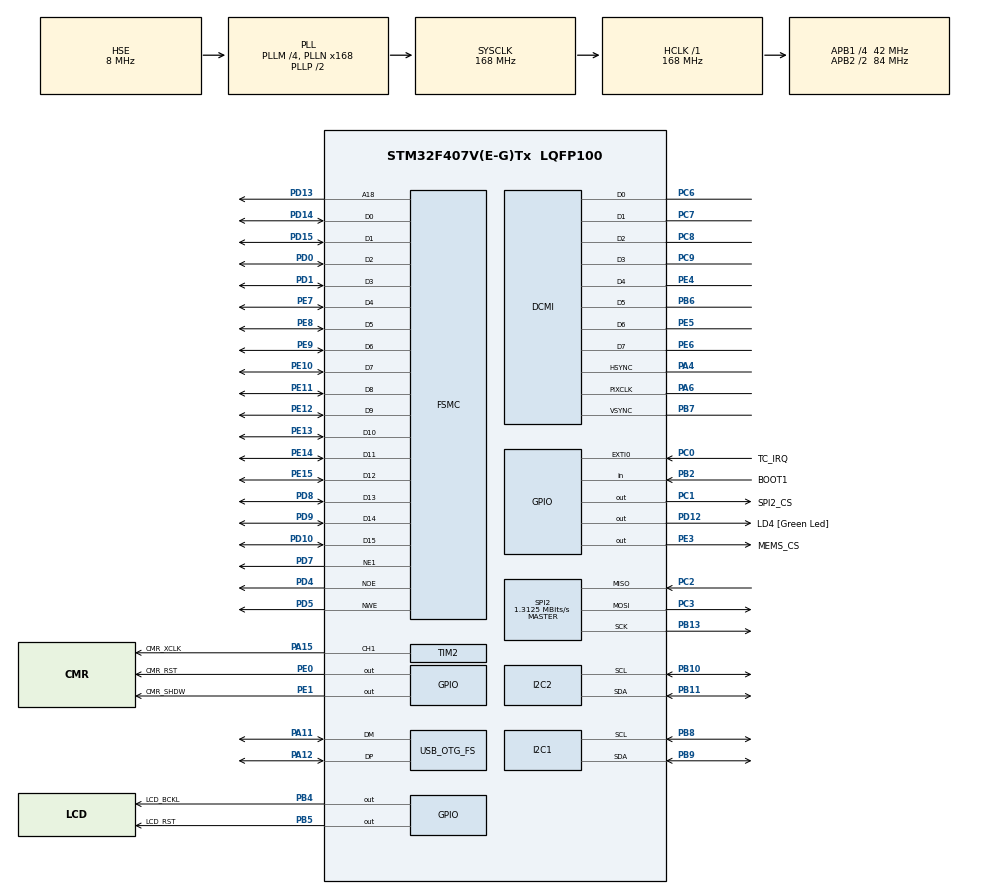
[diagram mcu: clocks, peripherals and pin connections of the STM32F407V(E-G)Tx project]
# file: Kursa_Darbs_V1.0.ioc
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Mcu.Family=STM32F4
PC3.Mode=Full_Duplex_Master
PD7.Mode=NorPsramChipSelect1_1
FREERTOS.Queues01=Coordinates,9,uint8_t,0,Dynamic,NULL,NULL
PD12.GPIO_Label=LD4 [Green Led]
PA6.Mode=Slave_8_bits_External_Synchro
USB_DEVICE.CLASS_NAME_FS=CDC
PH0-OSC_IN.Signal=RCC_OSC_IN
VP_SYS_VS_tim6.Mode=TIM6
RCC.CortexFreq_Value=168000000
DCMI.HSPolarity=DCMI_HSPOLARITY_LOW
SPI2.VirtualType=VM_MASTER
PB10.Mode=I2C
NVIC.TIM6_DAC_IRQn=true\:0\:0\:false\:false\:true\:false\:false\:true
PA14.GPIO_Label=SWCLK
PC0.GPIO_Label=TC_IRQ
PA11.Mode=Device_Only
USB_DEVICE.VirtualMode-CDC_FS=Cdc
PB11.Signal=I2C2_SDA
PB13.Signal=SPI2_SCK
PD9.Mode=16b-d1
PC15-OSC32_OUT.GPIO_Label=PC15-OSC32_OUT
RCC.SYSCLKSource=RCC_SYSCLKSOURCE_PLLCLK
ProjectManager.StackSize=0x400
Dma.DCMI.0.FIFOMode=DMA_FIFOMODE_DISABLE
VP_FREERTOS_VS_CMSIS_V2.Mode=CMSIS_V2
Dma.DCMI.0.MemDataAlignment=DMA_MDATAALIGN_WORD
PD13.Signal=FSMC_A18
PA15.GPIO_Label=CMR_XCLK
Dma.DCMI.0.MemInc=DMA_MINC_ENABLE
PA12.Signal=USB_OTG_FS_DP
PE11.Mode=16b-d1
PA4.Mode=Slave_8_bits_External_Synchro
Dma.DCMI.0.PeriphDataAlignment=DMA_PDATAALIGN_WORD
RCC.HCLKFreq_Value=168000000
PD4.Signal=FSMC_NOE
RCC.APB2TimFreq_Value=168000000
PB6.Signal=DCMI_D5
DCMI.VSPolarity=DCMI_VSPOLARITY_HIGH
PC7.Signal=DCMI_D1
PB6.Mode=Slave_8_bits_External_Synchro
PC3.Signal=SPI2_MOSI
PD10.Mode=16b-d1
PD0.Signal=FSMC_D2
PD8.Signal=FSMC_D13
PE5.Signal=DCMI_D6
PE1.Signal=GPIO_Output
RCC.AHBFreq_Value=168000000
SPI2.BaudRatePrescaler=SPI_BAUDRATEPRESCALER_32
PH0-OSC_IN.Mode=HSE-External-Oscillator
PH0-OSC_IN.GPIO_Label=PH0-OSC_IN
PD5.Mode=Lcd1
FREERTOS.configUSE_PREEMPTION=1
RCC.HSE_VALUE=8000000
PB2.Signal=GPIO_Input
PB3.Mode=Trace_Asynchronous_SW
DCMI.PCKPolarity=DCMI_PCKPOLARITY_RISING
PA6.GPIO_PuPd=GPIO_PULLUP
PE13.Signal=FSMC_D10
PC14-OSC32_IN.Mode=LSE-External-Oscillator
PE9.Signal=FSMC_D6
PA14.Mode=Trace_Asynchronous_SW
PD14.Mode=16b-d1
PC9.Mode=Slave_8_bits_External_Synchro
SPI2.CalculateBaudRate=1.3125 MBits/s
PB7.Signal=DCMI_VSYNC
PE13.Mode=16b-d1
TIM2.Channel-PWM\ Generation1\ CH1=TIM_CHANNEL_1
PE4.Mode=Slave_8_bits_External_Synchro
PE4.Signal=DCMI_D4
PE10.Signal=FSMC_D7
PB2.GPIO_PuPd=GPIO_NOPULL
PH1-OSC_OUT.Mode=HSE-External-Oscillator
PD15.Mode=16b-d1
Mcu.Package=LQFP100
PB9.Signal=I2C1_SDA
TIM2.Prescaler=0
PA6.Signal=DCMI_PIXCLK
NVIC.TimeBase=TIM6_DAC_IRQn
SPI2.Mode=SPI_MODE_MASTER
Dma.DCMI.0.Direction=DMA_PERIPH_TO_MEMORY
PD12.Signal=GPIO_Output
NVIC.OTG_FS_IRQn=true\:5\:0\:false\:false\:true\:true\:true\:true
NVIC.TimeBaseIP=TIM6
USB_OTG_FS.VirtualMode=Device_Only
PA15.Signal=S_TIM2_CH1_ETR
PE9.Mode=16b-d1
PE0.GPIO_Label=CMR_RST
RCC.APB2CLKDivider=RCC_HCLK_DIV2
PB5.GPIO_Label=LCD_RST
PD4.Mode=Lcd1
RCC.APB1TimFreq_Value=84000000
PC14-OSC32_IN.GPIO_Label=PC14-OSC32_IN
SPI2.Direction=SPI_DIRECTION_2LINES
PB13.Mode=Full_Duplex_Master
PA6.GPIO_Speed=GPIO_SPEED_FREQ_LOW
PE7.Signal=FSMC_D4
Dma.Request0=DCMI
PD15.Signal=FSMC_D1
PB4.Signal=GPIO_Output
PE12.Mode=16b-d1
PC15-OSC32_OUT.Mode=LSE-External-Oscillator
PD12.GPIO_Speed=GPIO_SPEED_FREQ_LOW
FREERTOS.Tasks01=defaultTask,24,3000,StartDefaultTask,Default,NULL,Dynamic,NULL,NULL;getPicFromCam,24,128,StartGetPictureFromCamera,Default,NULL,Dynamic,NULL,NULL;sendPicToPy,24,128,StartSendPictureToPy,Default,NULL,Dynamic,NULL,NULL;getCoordFromPy,24,128,StartGetCoordFromPy,Default,NULL,Dynamic,NULL,NULL;showPicture,24,128,StartShowPicture,Default,NULL,Dynamic,NULL,NULL
USB_DEVICE.VirtualModeFS=Cdc_FS
PC8.Signal=DCMI_D2
PC2.Signal=SPI2_MISO
PE10.Mode=16b-d1
PC6.Signal=DCMI_D0
PD7.Signal=FSMC_NE1
PD1.Signal=FSMC_D3
PC2.Mode=Full_Duplex_Master
PD9.Signal=FSMC_D14
PD5.Signal=FSMC_NWE
NVIC.DMA2_Stream1_IRQn=true\:5\:0\:false\:false\:true\:true\:false\:true
PC0.Signal=GPXTI0
RCC.APB1CLKDivider=RCC_HCLK_DIV4
PC14-OSC32_IN.Signal=RCC_OSC32_IN
TIM2.Pulse-PWM\ Generation1\ CH1=1
PE8.Mode=16b-d1
PD10.Signal=FSMC_D15
PA13.Signal=SYS_JTMS-SWDIO
FREERTOS.configUSE_IDLE_HOOK=1
PB11.Mode=I2C
ProjectManager.TargetToolchain=STM32CubeIDE
PC6.Mode=Slave_8_bits_External_Synchro
VP_USB_DEVICE_VS_USB_DEVICE_CDC_FS.Mode=CDC_FS
PB9.Mode=I2C
Dma.DCMI.0.Instance=DMA2_Stream1
Dma.DCMI.0.Mode=DMA_CIRCULAR
PD13.Mode=A18_1
PE11.Signal=FSMC_D8
PC15-OSC32_OUT.Signal=RCC_OSC32_OUT
PD8.Mode=16b-d1
PB10.Signal=I2C2_SCL
DCMI.JPEGMode=DCMI_JPEG_DISABLE
board=STM32F407G-DISC1
RCC.VCOOutputFreq_Value=336000000
PE1.GPIO_Label=CMR_SHDW
PD1.Mode=16b-d1
RCC.APB2Freq_Value=84000000
PB2.GPIO_Mode=GPIO_MODE_INPUT
PE14.Signal=FSMC_D11
PE6.Mode=Slave_8_bits_External_Synchro
PE15.Signal=FSMC_D12
PB4.GPIO_Label=LCD_BCKL
PE8.Signal=FSMC_D5
PE14.Mode=16b-d1
PE5.Mode=Slave_8_bits_External_Synchro
PC1.GPIO_Label=SPI2_CS
PH1-OSC_OUT.Signal=RCC_OSC_OUT
PH1-OSC_OUT.GPIO_Label=PH1-OSC_OUT
TIM2.Period=2
PE6.Signal=DCMI_D7
PA13.Mode=Trace_Asynchronous_SW
Mcu.Name=STM32F407V(E-G)Tx
PE0.Signal=GPIO_Output
PD0.Mode=16b-d1
PE12.Signal=FSMC_D9
PA13.GPIO_Label=SWDIO
PD14.Signal=FSMC_D0
PC8.Mode=Slave_8_bits_External_Synchro
RCC.48MHZClocksFreq_Value=48000000
PB3.Signal=SYS_JTDO-SWO
PA4.Signal=DCMI_HSYNC
RCC.SYSCLKFreq_VALUE=168000000
PE7.Mode=16b-d1
PB5.Signal=GPIO_Output
PA12.Mode=Device_Only
SPI2.FirstBit=SPI_FIRSTBIT_MSB
PA15.GPIO_Speed=GPIO_SPEED_FREQ_MEDIUM
PA11.Signal=USB_OTG_FS_DM
PB7.Mode=Slave_8_bits_External_Synchro
SH.S_TIM2_CH1_ETR.0=TIM2_CH1,PWM Generation1 CH1
PA14.Signal=SYS_JTCK-SWCLK
PB2.GPIO_Label=BOOT1
ProjectManager.HeapSize=0x200
RCC.HSI_VALUE=16000000
RCC.PLLQ=7
NVIC.PriorityGroup=NVIC_PRIORITYGROUP_4
RCC.PLLM=4
PB8.Mode=I2C
RCC.PLLN=168
PE3.Signal=GPIO_Output
PB8.Signal=I2C1_SCL
PE3.GPIO_Label=MEMS_CS
Dma.DCMI.0.PeriphInc=DMA_PINC_DISABLE
SPI2.DataSize=SPI_DATASIZE_8BIT
PC9.Signal=DCMI_D3
NVIC.DCMI_IRQn=true\:5\:0\:false\:false\:true\:true\:true\:true
PC7.Mode=Slave_8_bits_External_Synchro
RCC.APB1Freq_Value=42000000
PC1.Signal=GPIO_Output
PE15.Mode=16b-d1
PD12.GPIO_PuPd=GPIO_NOPULL
Dma.DCMI.0.Priority=DMA_PRIORITY_LOW

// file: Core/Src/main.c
/* USER CODE BEGIN Header */
/**
  ******************************************************************************
  * @file           : main.c
  * @brief          : Main program body
  ******************************************************************************
  * @attention
  *
  * <h2><center>&copy; Copyright (c) 2021 STMicroelectronics.
  * All rights reserved.</center></h2>
  *
  * This software component is licensed by ST under BSD 3-Clause license,
  * the "License"; You may not use this file except in compliance with the
  * License. You may obtain a copy of the License at:
  *                        opensource.org/licenses/BSD-3-Clause
  *
  ******************************************************************************
  */
/* USER CODE END Header */
#include "main.h"
#include "cmsis_os.h"
#include "usb_device.h"

/* USER CODE BEGIN Includes */

#include "stm32_adafruit_lcd.h"
#include "lcd.h"
#include "stdio.h"
#include "math.h"
#include "ov9655.h"
#include "string.h"
#include "stdlib.h"
#include "ads7843.h"

#include "usbd_cdc_if.h"
#include "string.h"
#include "stream_buffer.h"
/* USER CODE END Includes */

DCMI_HandleTypeDef hdcmi;
DMA_HandleTypeDef hdma_dcmi;

I2C_HandleTypeDef hi2c1;
I2C_HandleTypeDef hi2c2;

SPI_HandleTypeDef hspi2;

TIM_HandleTypeDef htim2;

SRAM_HandleTypeDef hsram1;

/* Definitions for defaultTask */
osThreadId_t defaultTaskHandle;
const osThreadAttr_t defaultTask_attributes = {
  .name = "defaultTask",
  .stack_size = 3000 * 4,
  .priority = (osPriority_t) osPriorityNormal,
};
/* Definitions for getPicFromCam */
osThreadId_t getPicFromCamHandle;
const osThreadAttr_t getPicFromCam_attributes = {
  .name = "getPicFromCam",
  .stack_size = 128 * 4,
  .priority = (osPriority_t) osPriorityNormal,
};
/* Definitions for sendPicToPy */
osThreadId_t sendPicToPyHandle;
const osThreadAttr_t sendPicToPy_attributes = {
  .name = "sendPicToPy",
  .stack_size = 128 * 4,
  .priority = (osPriority_t) osPriorityNormal,
};
/* Definitions for getCoordFromPy */
osThreadId_t getCoordFromPyHandle;
const osThreadAttr_t getCoordFromPy_attributes = {
  .name = "getCoordFromPy",
  .stack_size = 128 * 4,
  .priority = (osPriority_t) osPriorityNormal,
};
/* Definitions for showPicture */
osThreadId_t showPictureHandle;
const osThreadAttr_t showPicture_attributes = {
  .name = "showPicture",
  .stack_size = 128 * 4,
  .priority = (osPriority_t) osPriorityNormal,
};
/* Definitions for Coordinates */
osMessageQueueId_t CoordinatesHandle;
const osMessageQueueAttr_t Coordinates_attributes = {
  .name = "Coordinates"
};

void SystemClock_Config(void);
static void MX_GPIO_Init(void);
static void MX_DMA_Init(void);
static void MX_FSMC_Init(void);
static void MX_DCMI_Init(void);
static void MX_I2C1_Init(void);
static void MX_TIM2_Init(void);
static void MX_I2C2_Init(void);
static void MX_SPI2_Init(void);
void StartDefaultTask(void *argument);
void StartGetPictureFromCamera(void *argument);
void StartSendPictureToPy(void *argument);
void StartGetCoordFromPy(void *argument);
void StartShowPicture(void *argument);

/* USER CODE BEGIN PFP */

int32_t cameraWriteReg(void *ctx, uint16_t reg, uint8_t *pdata, uint16_t length);
int32_t cameraReadReg(void *ctx, uint16_t reg, uint8_t *pdata, uint16_t length);

/* USER CODE END PFP */

/* USER CODE BEGIN 0 */
int __io_putchar(int ch)
{
	ITM_SendChar(ch);
	return(ch);
}

OV9655_Object_t cameraObject;
OV9655_IO_t	cameraIo;
ov9655_ctx_t cameraCtx;

uint32_t imgBuf[19200 + 1] = {0};
uint8_t syncBuf[] = {0, 255, 0, 255, 0, 255};

//uint8_t count = 0;

uint8_t frameDone = 0;
uint8_t recivedData = 0;
uint8_t ret = 0;
uint8_t *tempReciveBuf;

osThreadId_t tid;

StreamBufferHandle_t xStreamBuffer;
//uint8_t *data = "Hello world from a dumb person who can't follow a tutorial\n";

/* USER CODE END 0 */

int main(void)
{

  /* MCU Configuration--------------------------------------------------------*/

  /* Reset of all peripherals, Initializes the Flash interface and the Systick. */
  HAL_Init();

  /* Configure the system clock */
  SystemClock_Config();

  /* Initialize all configured peripherals */
  MX_GPIO_Init();
  MX_DMA_Init();
  MX_FSMC_Init();
  MX_DCMI_Init();
  MX_I2C1_Init();
  MX_TIM2_Init();
  MX_I2C2_Init();
  MX_SPI2_Init();
  MX_USB_DEVICE_Init();
  /* USER CODE BEGIN 2 */

  HAL_TIM_PWM_Start(&htim2, TIM_CHANNEL_1);

  HAL_GPIO_WritePin(LCD_RST_GPIO_Port, LCD_RST_Pin, GPIO_PIN_RESET);
  HAL_GPIO_WritePin(LCD_BCKL_GPIO_Port, LCD_BCKL_Pin, GPIO_PIN_RESET);
  HAL_GPIO_WritePin(CMR_RST_GPIO_Port, CMR_RST_Pin, GPIO_PIN_SET);
  HAL_GPIO_WritePin(CMR_SHDW_GPIO_Port, CMR_SHDW_Pin, GPIO_PIN_RESET);
  HAL_Delay(100);
  HAL_GPIO_WritePin(LCD_RST_GPIO_Port, LCD_RST_Pin, GPIO_PIN_SET);
  HAL_GPIO_WritePin(LCD_BCKL_GPIO_Port, LCD_BCKL_Pin, GPIO_PIN_SET);

  HAL_GPIO_WritePin(CMR_RST_GPIO_Port, CMR_RST_Pin, GPIO_PIN_RESET);	// ACTIVE HIGH
  HAL_GPIO_WritePin(CMR_SHDW_GPIO_Port, CMR_SHDW_Pin, GPIO_PIN_RESET);	// ACTIVE HIGH    FUU

  BSP_LCD_Init();

  BSP_LCD_Clear(LCD_COLOR_WHITE);
  BSP_LCD_SetBackColor(LCD_COLOR_WHITE);
  BSP_LCD_SetTextColor(LCD_COLOR_RED);
  BSP_LCD_SetFont(&Font12);
  BSP_LCD_DisplayStringAt(10, 10, (uint8_t *)"testing", LEFT_MODE);
  BSP_LCD_FillRect(0, 0, 50, 50);

  cameraCtx.ReadReg = &cameraReadReg;
  cameraCtx.WriteReg = &cameraWriteReg;
  cameraObject.Ctx = cameraCtx;

  int32_t retInit = 0;
  retInit = OV9655_Init(&cameraObject, OV9655_R160x120, OV9655_RGB565);
  if(retInit != 0){
	//  BSP_LCD_DisplayStringAt(100, 100, (uint8_t *)"testing", LEFT_MODE);
	  while(1);
  }

  //HAL_DCMI_Start_DMA(&hdcmi, DCMI_MODE_CONTINUOUS, (uint32_t)imgBuf, 19200/2);

  ADS7843_Init(&hspi2, 320, 240);

  tid = osThreadNew(StartShowPicture, NULL, NULL);

  /* USER CODE END 2 */

  /* Init scheduler */
  osKernelInitialize();

  /* Create the queue(s) */
  /* creation of Coordinates */
  CoordinatesHandle = osMessageQueueNew (9, sizeof(uint8_t), &Coordinates_attributes);

  /* USER CODE BEGIN RTOS_QUEUES */
  const size_t xStreamBufferSizeBytes = 100, xTriggerLevel = 10;
  	size_t xBytesSent;

  	const TickType_t x100ms = pdMS_TO_TICKS( 100 );
  	printf("Starting to create buffer \n");
  	    xStreamBuffer = xStreamBufferCreate( xStreamBufferSizeBytes, xTriggerLevel );

  	    if( xStreamBuffer == NULL )
  	    {
  	    	printf(" Error !!!  creating stream buffer \n");
  	    }
  	    else
  	    {

  			  printf("Succesfully created stream buffer \n");
  	    }
  /* add queues, ... */
  /* USER CODE END RTOS_QUEUES */

  /* Create the thread(s) */
  /* creation of defaultTask */
  defaultTaskHandle = osThreadNew(StartDefaultTask, NULL, &defaultTask_attributes);

  /* creation of getPicFromCam */
  getPicFromCamHandle = osThreadNew(StartGetPictureFromCamera, NULL, &getPicFromCam_attributes);

  /* creation of sendPicToPy */
  sendPicToPyHandle = osThreadNew(StartSendPictureToPy, NULL, &sendPicToPy_attributes);

  /* creation of getCoordFromPy */
  getCoordFromPyHandle = osThreadNew(StartGetCoordFromPy, NULL, &getCoordFromPy_attributes);

  /* creation of showPicture */
  showPictureHandle = osThreadNew(StartShowPicture, NULL, &showPicture_attributes);

  /* Start scheduler */
  osKernelStart();

  /* We should never get here as control is now taken by the scheduler */
  /* Infinite loop */
  /* USER CODE BEGIN WHILE */

  while (1)
  {
/*
	  if(frameDone){
		  frameDone = 0;
		  //BSP_LCD_DrawRGB16Image(160, 120, 160, 120, (uint16_t *)imgBuf);
	  }

	  HAL_DCMI_Start_DMA(&hdcmi, DCMI_MODE_SNAPSHOT, (uint32_t)imgBuf, 19200);
	  HAL_Delay(100);

	  CDC_Transmit_FS(syncBuf, sizeof(syncBuf));
	  HAL_Delay(100);
	  for(uint16_t i = 0; i < 19200; i++){            // vcom shit
	  ret = 1;
	  while(ret){                                    // make sure it is transmitted
	  ret = CDC_Transmit_FS(((uint8_t *)imgBuf) + (i * 2), 2);    // send iamge over USB vcom
	  	  }
	  }

	  BSP_LCD_DrawRGB16Image(160, 120, 160, 120, (uint16_t *)imgBuf);
	  if(recivedData == 1)
	  {
		  BSP_LCD_DrawRect(160+tempReciveBuf[0], 120+tempReciveBuf[3], tempReciveBuf[1] - tempReciveBuf[3], tempReciveBuf[2] - tempReciveBuf[0]);
		  count = count +1;
	  	  if (count == 4)
	  	  {
	  		  recivedData = 0;
		  	  count = 0;
	  	  }
	  }

*/

    /* USER CODE END WHILE */

  }
}

void SystemClock_Config(void)
{
  RCC_OscInitTypeDef RCC_OscInitStruct = {0};
  RCC_ClkInitTypeDef RCC_ClkInitStruct = {0};

  /** Configure the main internal regulator output voltage
  */
  __HAL_RCC_PWR_CLK_ENABLE();
  __HAL_PWR_VOLTAGESCALING_CONFIG(PWR_REGULATOR_VOLTAGE_SCALE1);
  /** Initializes the RCC Oscillators according to the specified parameters
  * in the RCC_OscInitTypeDef structure.
  */
  RCC_OscInitStruct.OscillatorType = RCC_OSCILLATORTYPE_HSE;
  RCC_OscInitStruct.HSEState = RCC_HSE_ON;
  RCC_OscInitStruct.PLL.PLLState = RCC_PLL_ON;
  RCC_OscInitStruct.PLL.PLLSource = RCC_PLLSOURCE_HSE;
  RCC_OscInitStruct.PLL.PLLM = 4;
  RCC_OscInitStruct.PLL.PLLN = 168;
  RCC_OscInitStruct.PLL.PLLP = RCC_PLLP_DIV2;
  RCC_OscInitStruct.PLL.PLLQ = 7;
  if (HAL_RCC_OscConfig(&RCC_OscInitStruct) != HAL_OK)
  {
    Error_Handler();
  }
  /** Initializes the CPU, AHB and APB buses clocks
  */
  RCC_ClkInitStruct.ClockType = RCC_CLOCKTYPE_HCLK|RCC_CLOCKTYPE_SYSCLK
                              |RCC_CLOCKTYPE_PCLK1|RCC_CLOCKTYPE_PCLK2;
  RCC_ClkInitStruct.SYSCLKSource = RCC_SYSCLKSOURCE_PLLCLK;
  RCC_ClkInitStruct.AHBCLKDivider = RCC_SYSCLK_DIV1;
  RCC_ClkInitStruct.APB1CLKDivider = RCC_HCLK_DIV4;
  RCC_ClkInitStruct.APB2CLKDivider = RCC_HCLK_DIV2;

  if (HAL_RCC_ClockConfig(&RCC_ClkInitStruct, FLASH_LATENCY_5) != HAL_OK)
  {
    Error_Handler();
  }
}

static void MX_DCMI_Init(void)
{

  hdcmi.Instance = DCMI;
  hdcmi.Init.SynchroMode = DCMI_SYNCHRO_HARDWARE;
  hdcmi.Init.PCKPolarity = DCMI_PCKPOLARITY_RISING;
  hdcmi.Init.VSPolarity = DCMI_VSPOLARITY_HIGH;
  hdcmi.Init.HSPolarity = DCMI_HSPOLARITY_LOW;
  hdcmi.Init.CaptureRate = DCMI_CR_ALL_FRAME;
  hdcmi.Init.ExtendedDataMode = DCMI_EXTEND_DATA_8B;
  hdcmi.Init.JPEGMode = DCMI_JPEG_DISABLE;
  if (HAL_DCMI_Init(&hdcmi) != HAL_OK)
  {
    Error_Handler();
  }

}

static void MX_I2C1_Init(void)
{

  hi2c1.Instance = I2C1;
  hi2c1.Init.ClockSpeed = 100000;
  hi2c1.Init.DutyCycle = I2C_DUTYCYCLE_2;
  hi2c1.Init.OwnAddress1 = 0;
  hi2c1.Init.AddressingMode = I2C_ADDRESSINGMODE_7BIT;
  hi2c1.Init.DualAddressMode = I2C_DUALADDRESS_DISABLE;
  hi2c1.Init.OwnAddress2 = 0;
  hi2c1.Init.GeneralCallMode = I2C_GENERALCALL_DISABLE;
  hi2c1.Init.NoStretchMode = I2C_NOSTRETCH_DISABLE;
  if (HAL_I2C_Init(&hi2c1) != HAL_OK)
  {
    Error_Handler();
  }

}

static void MX_I2C2_Init(void)
{

  hi2c2.Instance = I2C2;
  hi2c2.Init.ClockSpeed = 100000;
  hi2c2.Init.DutyCycle = I2C_DUTYCYCLE_2;
  hi2c2.Init.OwnAddress1 = 0;
  hi2c2.Init.AddressingMode = I2C_ADDRESSINGMODE_7BIT;
  hi2c2.Init.DualAddressMode = I2C_DUALADDRESS_DISABLE;
  hi2c2.Init.OwnAddress2 = 0;
  hi2c2.Init.GeneralCallMode = I2C_GENERALCALL_DISABLE;
  hi2c2.Init.NoStretchMode = I2C_NOSTRETCH_DISABLE;
  if (HAL_I2C_Init(&hi2c2) != HAL_OK)
  {
    Error_Handler();
  }

}

static void MX_SPI2_Init(void)
{

  /* SPI2 parameter configuration*/
  hspi2.Instance = SPI2;
  hspi2.Init.Mode = SPI_MODE_MASTER;
  hspi2.Init.Direction = SPI_DIRECTION_2LINES;
  hspi2.Init.DataSize = SPI_DATASIZE_8BIT;
  hspi2.Init.CLKPolarity = SPI_POLARITY_LOW;
  hspi2.Init.CLKPhase = SPI_PHASE_1EDGE;
  hspi2.Init.NSS = SPI_NSS_SOFT;
  hspi2.Init.BaudRatePrescaler = SPI_BAUDRATEPRESCALER_32;
  hspi2.Init.FirstBit = SPI_FIRSTBIT_MSB;
  hspi2.Init.TIMode = SPI_TIMODE_DISABLE;
  hspi2.Init.CRCCalculation = SPI_CRCCALCULATION_DISABLE;
  hspi2.Init.CRCPolynomial = 10;
  if (HAL_SPI_Init(&hspi2) != HAL_OK)
  {
    Error_Handler();
  }

}

static void MX_TIM2_Init(void)
{

  TIM_MasterConfigTypeDef sMasterConfig = {0};
  TIM_OC_InitTypeDef sConfigOC = {0};

  htim2.Instance = TIM2;
  htim2.Init.Prescaler = 0;
  htim2.Init.CounterMode = TIM_COUNTERMODE_UP;
  htim2.Init.Period = 2;
  htim2.Init.ClockDivision = TIM_CLOCKDIVISION_DIV1;
  htim2.Init.AutoReloadPreload = TIM_AUTORELOAD_PRELOAD_DISABLE;
  if (HAL_TIM_PWM_Init(&htim2) != HAL_OK)
  {
    Error_Handler();
  }
  sMasterConfig.MasterOutputTrigger = TIM_TRGO_RESET;
  sMasterConfig.MasterSlaveMode = TIM_MASTERSLAVEMODE_DISABLE;
  if (HAL_TIMEx_MasterConfigSynchronization(&htim2, &sMasterConfig) != HAL_OK)
  {
    Error_Handler();
  }
  sConfigOC.OCMode = TIM_OCMODE_PWM1;
  sConfigOC.Pulse = 1;
  sConfigOC.OCPolarity = TIM_OCPOLARITY_HIGH;
  sConfigOC.OCFastMode = TIM_OCFAST_DISABLE;
  if (HAL_TIM_PWM_ConfigChannel(&htim2, &sConfigOC, TIM_CHANNEL_1) != HAL_OK)
  {
    Error_Handler();
  }
  HAL_TIM_MspPostInit(&htim2);

}

static void MX_DMA_Init(void)
{

  /* DMA controller clock enable */
  __HAL_RCC_DMA2_CLK_ENABLE();

  /* DMA interrupt init */
  /* DMA2_Stream1_IRQn interrupt configuration */
  HAL_NVIC_SetPriority(DMA2_Stream1_IRQn, 5, 0);
  HAL_NVIC_EnableIRQ(DMA2_Stream1_IRQn);

}

static void MX_GPIO_Init(void)
{
  GPIO_InitTypeDef GPIO_InitStruct = {0};

  /* GPIO Ports Clock Enable */
  __HAL_RCC_GPIOE_CLK_ENABLE();
  __HAL_RCC_GPIOC_CLK_ENABLE();
  __HAL_RCC_GPIOH_CLK_ENABLE();
  __HAL_RCC_GPIOA_CLK_ENABLE();
  __HAL_RCC_GPIOB_CLK_ENABLE();
  __HAL_RCC_GPIOD_CLK_ENABLE();

  /*Configure GPIO pin Output Level */
  HAL_GPIO_WritePin(GPIOE, MEMS_CS_Pin|CMR_RST_Pin|CMR_SHDW_Pin, GPIO_PIN_RESET);

  /*Configure GPIO pin Output Level */
  HAL_GPIO_WritePin(SPI2_CS_GPIO_Port, SPI2_CS_Pin, GPIO_PIN_RESET);

  /*Configure GPIO pin Output Level */
  HAL_GPIO_WritePin(LD4_GPIO_Port, LD4_Pin, GPIO_PIN_RESET);

  /*Configure GPIO pin Output Level */
  HAL_GPIO_WritePin(GPIOB, LCD_BCKL_Pin|LCD_RST_Pin, GPIO_PIN_RESET);

  /*Configure GPIO pins : MEMS_CS_Pin CMR_RST_Pin CMR_SHDW_Pin */
  GPIO_InitStruct.Pin = MEMS_CS_Pin|CMR_RST_Pin|CMR_SHDW_Pin;
  GPIO_InitStruct.Mode = GPIO_MODE_OUTPUT_PP;
  GPIO_InitStruct.Pull = GPIO_NOPULL;
  GPIO_InitStruct.Speed = GPIO_SPEED_FREQ_LOW;
  HAL_GPIO_Init(GPIOE, &GPIO_InitStruct);

  /*Configure GPIO pin : TC_IRQ_Pin */
  GPIO_InitStruct.Pin = TC_IRQ_Pin;
  GPIO_InitStruct.Mode = GPIO_MODE_IT_RISING;
  GPIO_InitStruct.Pull = GPIO_NOPULL;
  HAL_GPIO_Init(TC_IRQ_GPIO_Port, &GPIO_InitStruct);

  /*Configure GPIO pin : SPI2_CS_Pin */
  GPIO_InitStruct.Pin = SPI2_CS_Pin;
  GPIO_InitStruct.Mode = GPIO_MODE_OUTPUT_PP;
  GPIO_InitStruct.Pull = GPIO_NOPULL;
  GPIO_InitStruct.Speed = GPIO_SPEED_FREQ_LOW;
  HAL_GPIO_Init(SPI2_CS_GPIO_Port, &GPIO_InitStruct);

  /*Configure GPIO pin : BOOT1_Pin */
  GPIO_InitStruct.Pin = BOOT1_Pin;
  GPIO_InitStruct.Mode = GPIO_MODE_INPUT;
  GPIO_InitStruct.Pull = GPIO_NOPULL;
  HAL_GPIO_Init(BOOT1_GPIO_Port, &GPIO_InitStruct);

  /*Configure GPIO pin : LD4_Pin */
  GPIO_InitStruct.Pin = LD4_Pin;
  GPIO_InitStruct.Mode = GPIO_MODE_OUTPUT_PP;
  GPIO_InitStruct.Pull = GPIO_NOPULL;
  GPIO_InitStruct.Speed = GPIO_SPEED_FREQ_LOW;
  HAL_GPIO_Init(LD4_GPIO_Port, &GPIO_InitStruct);

  /*Configure GPIO pins : LCD_BCKL_Pin LCD_RST_Pin */
  GPIO_InitStruct.Pin = LCD_BCKL_Pin|LCD_RST_Pin;
  GPIO_InitStruct.Mode = GPIO_MODE_OUTPUT_PP;
  GPIO_InitStruct.Pull = GPIO_NOPULL;
  GPIO_InitStruct.Speed = GPIO_SPEED_FREQ_LOW;
  HAL_GPIO_Init(GPIOB, &GPIO_InitStruct);

}

/* FSMC initialization function */
static void MX_FSMC_Init(void)
{

  FSMC_NORSRAM_TimingTypeDef Timing = {0};

  /** Perform the SRAM1 memory initialization sequence
  */
  hsram1.Instance = FSMC_NORSRAM_DEVICE;
  hsram1.Extended = FSMC_NORSRAM_EXTENDED_DEVICE;
  /* hsram1.Init */
  hsram1.Init.NSBank = FSMC_NORSRAM_BANK1;
  hsram1.Init.DataAddressMux = FSMC_DATA_ADDRESS_MUX_DISABLE;
  hsram1.Init.MemoryType = FSMC_MEMORY_TYPE_SRAM;
  hsram1.Init.MemoryDataWidth = FSMC_NORSRAM_MEM_BUS_WIDTH_16;
  hsram1.Init.BurstAccessMode = FSMC_BURST_ACCESS_MODE_DISABLE;
  hsram1.Init.WaitSignalPolarity = FSMC_WAIT_SIGNAL_POLARITY_LOW;
  hsram1.Init.WrapMode = FSMC_WRAP_MODE_DISABLE;
  hsram1.Init.WaitSignalActive = FSMC_WAIT_TIMING_BEFORE_WS;
  hsram1.Init.WriteOperation = FSMC_WRITE_OPERATION_ENABLE;
  hsram1.Init.WaitSignal = FSMC_WAIT_SIGNAL_DISABLE;
  hsram1.Init.ExtendedMode = FSMC_EXTENDED_MODE_DISABLE;
  hsram1.Init.AsynchronousWait = FSMC_ASYNCHRONOUS_WAIT_DISABLE;
  hsram1.Init.WriteBurst = FSMC_WRITE_BURST_DISABLE;
  hsram1.Init.PageSize = FSMC_PAGE_SIZE_NONE;
  /* Timing */
  Timing.AddressSetupTime = 15;
  Timing.AddressHoldTime = 15;
  Timing.DataSetupTime = 255;
  Timing.BusTurnAroundDuration = 15;
  Timing.CLKDivision = 16;
  Timing.DataLatency = 17;
  Timing.AccessMode = FSMC_ACCESS_MODE_A;
  /* ExtTiming */

  if (HAL_SRAM_Init(&hsram1, &Timing, NULL) != HAL_OK)
  {
    Error_Handler( );
  }

}

/* USER CODE BEGIN 4 */

int32_t cameraWriteReg(void *ctx, uint16_t reg, uint8_t *pdata, uint16_t length){
	int32_t ret = 1;

	uint8_t temp[32] = {0};
	memcpy(temp + 1, pdata, length);
	temp[0] = reg & 0xff;

	ret = HAL_I2C_Master_Transmit(&hi2c1, OV9655_ADD, temp, length + 1, 10000);

	return ret;
}

int32_t cameraReadReg(void *ctx, uint16_t reg, uint8_t *pdata, uint16_t length){
	int32_t ret = 0;

	uint8_t temp[32] = {0};
	temp[0] = reg & 0xff;

	ret = HAL_I2C_Master_Transmit(&hi2c1, OV9655_ADD, temp, 1, 100);
	ret = HAL_I2C_Master_Receive(&hi2c1, OV9655_ADD, pdata, length, 100);
	return ret;

}

//(ctx->handle, reg, data, length)
//HAL_DCMI_Start_DMA(&hdcmi, DCMI_MODE_CONTINUOUS, *imgBuf, 160*120);

void HAL_DCMI_FrameEventCallback(DCMI_HandleTypeDef *hdcmi){
	//HAL_GPIO_TogglePin(LD4_GPIO_Port, LD4_Pin);
	frameDone = 1;
}

void HAL_DCMI_HsyncCallback(DCMI_HandleTypeDef *hdcmi){
	HAL_GPIO_TogglePin(LD4_GPIO_Port, LD4_Pin);
}

void HAL_DCMI_VsyncCallback(DCMI_HandleTypeDef *hdcmi){
	HAL_GPIO_TogglePin(LD4_GPIO_Port, LD4_Pin);
}

void CDC_Recive_Callback(uint8_t *buf, uint32_t len)
{
	tempReciveBuf = buf;
	recivedData = 1;
	osThreadFlagsSet(tid, 0x0002U);
}

/* USER CODE END 4 */

void StartDefaultTask(void *argument)
{
  /* init code for USB_DEVICE */

  for(;;)
  {
    osDelay(1);
  }
}

void StartGetPictureFromCamera(void *argument)
{
  /* USER CODE BEGIN StartGetPictureFromCamera */

  /* Infinite loop */
  for(;;)
  {
	  if(frameDone == 0)
	  {
		  HAL_DCMI_Start_DMA(&hdcmi, DCMI_MODE_SNAPSHOT, (uint32_t)imgBuf, 19200);
	  }
  }
  /* USER CODE END StartGetPictureFromCamera */
}

void StartSendPictureToPy(void *argument)
{
  /* USER CODE BEGIN StartSendPictureToPy */
  /* Infinite loop */
  for(;;)
  {
	  if(frameDone == 1){
		//  taskENTER_CRITICAL();
		  CDC_Transmit_FS(syncBuf, sizeof(syncBuf));
	 	//  HAL_Delay(100);
	 	  for(uint16_t i = 0; i < 19200; i++){            // vcom shit
	 	  ret = 1;
	 	  while(ret){                                    // make sure it is transmitted
	 	  ret = CDC_Transmit_FS(((uint8_t *)imgBuf) + (i * 2), 2);    // send iamge over USB vcom
	 	  }
	 	  }
	 	  frameDone = 0;
	 //	  taskEXIT_CRITICAL();
	  }
  }
  /* USER CODE END StartSendPictureToPy */
}

void StartGetCoordFromPy(void *argument)
{
  /* USER CODE BEGIN StartGetCoordFromPy */
  /* Infinite loop */
  for(;;)
  {
	 /* void CDC_Recive_Callback(uint8_t *buf, uint32_t len)
	  {
	  	tempReciveBuf = buf;
	  	recivedData = 1;
	  	osThreadFlagsSet(tid, 0x0002U);
	  }*/
  }
  /* USER CODE END StartGetCoordFromPy */
}

void StartShowPicture(void *argument)
{
  /* USER CODE BEGIN StartShowPicture */
	uint8_t count = 0;
  /* Infinite loop */
  for(;;)
  {
	  BSP_LCD_DrawRGB16Image(160, 120, 160, 120, (uint16_t *)imgBuf);
	 // osThreadFlagsWait(0x0002U, osFlagsWaitAny, osWaitForever);
	  	  if(recivedData == 1)
	  	  {
	  		  BSP_LCD_DrawRect(160+tempReciveBuf[0], 120+tempReciveBuf[3], tempReciveBuf[1] - tempReciveBuf[3], tempReciveBuf[2] - tempReciveBuf[0]);
	  		  count = count +1;
	  	  	  if (count == 3)
	  	  	  {
	  	  		  recivedData = 0;
	  		  	  count = 0;
	  	  	  }
	  	  }

  }
  /* USER CODE END StartShowPicture */
}

 /**
  * @brief  Period elapsed callback in non blocking mode
  * @note   This function is called  when TIM6 interrupt took place, inside
  * HAL_TIM_IRQHandler(). It makes a direct call to HAL_IncTick() to increment
  * a global variable "uwTick" used as application time base.
  * @param  htim : TIM handle
  * @retval None
  */
void HAL_TIM_PeriodElapsedCallback(TIM_HandleTypeDef *htim)
{
  if (htim->Instance == TIM6) {
    HAL_IncTick();
  }
}

void Error_Handler(void)
{
  __disable_irq();
  while (1)
  {
  }
}

/************************ (C) COPYRIGHT STMicroelectronics *****END OF FILE****/
